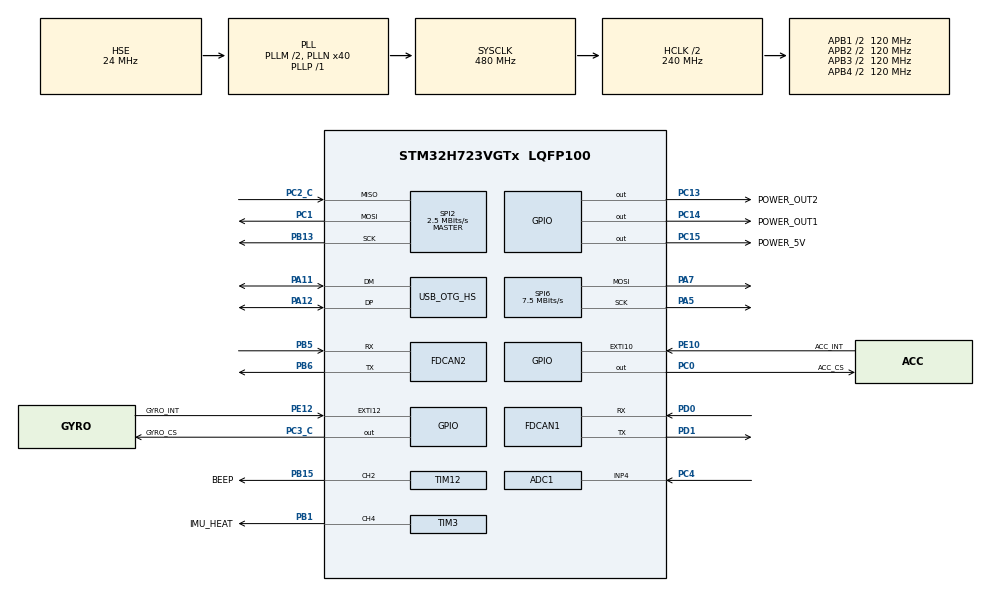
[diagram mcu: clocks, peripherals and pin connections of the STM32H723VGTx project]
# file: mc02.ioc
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ADC1.Channel-0\#ChannelRegularConversion=ADC_CHANNEL_4
ADC1.ClockPrescaler=ADC_CLOCK_ASYNC_DIV4
ADC1.ContinuousConvMode=ENABLE
ADC1.NbrOfConversionFlag=1
ADC1.SamplingTime-0\#ChannelRegularConversion=ADC_SAMPLETIME_8CYCLES_5
ADC1.master=1
CORTEX_M7.default_mode_Activation=0
Dma.Request0=SPI2_RX
Dma.Request1=SPI2_TX
Dma.SPI2_RX.0.Direction=DMA_PERIPH_TO_MEMORY
Dma.SPI2_RX.0.EventEnable=DISABLE
Dma.SPI2_RX.0.FIFOMode=DMA_FIFOMODE_DISABLE
Dma.SPI2_RX.0.Instance=DMA1_Stream1
Dma.SPI2_RX.0.MemDataAlignment=DMA_MDATAALIGN_BYTE
Dma.SPI2_RX.0.MemInc=DMA_MINC_ENABLE
Dma.SPI2_RX.0.Mode=DMA_NORMAL
Dma.SPI2_RX.0.PeriphDataAlignment=DMA_PDATAALIGN_BYTE
Dma.SPI2_RX.0.PeriphInc=DMA_PINC_DISABLE
Dma.SPI2_RX.0.Polarity=HAL_DMAMUX_REQ_GEN_RISING
Dma.SPI2_RX.0.Priority=DMA_PRIORITY_VERY_HIGH
Dma.SPI2_RX.0.RequestNumber=1
Dma.SPI2_RX.0.SignalID=NONE
Dma.SPI2_RX.0.SyncEnable=DISABLE
Dma.SPI2_RX.0.SyncPolarity=HAL_DMAMUX_SYNC_NO_EVENT
Dma.SPI2_RX.0.SyncRequestNumber=1
Dma.SPI2_RX.0.SyncSignalID=NONE
Dma.SPI2_TX.1.Direction=DMA_MEMORY_TO_PERIPH
Dma.SPI2_TX.1.EventEnable=DISABLE
Dma.SPI2_TX.1.FIFOMode=DMA_FIFOMODE_DISABLE
Dma.SPI2_TX.1.Instance=DMA1_Stream2
Dma.SPI2_TX.1.MemDataAlignment=DMA_MDATAALIGN_BYTE
Dma.SPI2_TX.1.MemInc=DMA_MINC_ENABLE
Dma.SPI2_TX.1.Mode=DMA_NORMAL
Dma.SPI2_TX.1.PeriphDataAlignment=DMA_PDATAALIGN_BYTE
Dma.SPI2_TX.1.PeriphInc=DMA_PINC_DISABLE
Dma.SPI2_TX.1.Polarity=HAL_DMAMUX_REQ_GEN_RISING
Dma.SPI2_TX.1.Priority=DMA_PRIORITY_HIGH
Dma.SPI2_TX.1.RequestNumber=1
Dma.SPI2_TX.1.SignalID=NONE
Dma.SPI2_TX.1.SyncEnable=DISABLE
Dma.SPI2_TX.1.SyncPolarity=HAL_DMAMUX_SYNC_NO_EVENT
Dma.SPI2_TX.1.SyncRequestNumber=1
Dma.SPI2_TX.1.SyncSignalID=NONE
FDCAN1.AutoRetransmission=ENABLE
FDCAN1.CalculateBaudRateNominal=1000000
FDCAN1.CalculateTimeBitNominal=1000
FDCAN1.CalculateTimeQuantumNominal=12.5
FDCAN1.DataSyncJumpWidth=2
FDCAN1.DataTimeSeg1=13
FDCAN1.DataTimeSeg2=2
FDCAN1.ExtFiltersNbr=4
FDCAN1.FrameFormat=FDCAN_FRAME_CLASSIC
FDCAN1.NominalPrescaler=1
FDCAN1.NominalSyncJumpWidth=20
FDCAN1.NominalTimeSeg1=59
FDCAN1.NominalTimeSeg2=20
FDCAN1.ProtocolException=ENABLE
FDCAN1.RxBuffersNbr=2
FDCAN1.RxFifo0ElmtsNbr=8
FDCAN1.RxFifo1ElmtsNbr=8
FDCAN1.StdFiltersNbr=4
FDCAN1.TxBuffersNbr=8
FDCAN1.TxEventsNbr=8
FDCAN1.TxFifoQueueElmtsNbr=8
FDCAN2.AutoRetransmission=ENABLE
FDCAN2.CalculateBaudRateNominal=1000000
FDCAN2.CalculateTimeBitNominal=1000
FDCAN2.CalculateTimeQuantumNominal=12.5
FDCAN2.DataSyncJumpWidth=2
FDCAN2.DataTimeSeg1=13
FDCAN2.DataTimeSeg2=2
FDCAN2.ExtFiltersNbr=4
FDCAN2.FrameFormat=FDCAN_FRAME_CLASSIC
FDCAN2.MessageRAMOffset=0x500
FDCAN2.NominalPrescaler=1
FDCAN2.NominalSyncJumpWidth=20
FDCAN2.NominalTimeSeg1=59
FDCAN2.NominalTimeSeg2=20
FDCAN2.ProtocolException=ENABLE
FDCAN2.RxBuffersNbr=2
FDCAN2.RxFifo0ElmtsNbr=8
FDCAN2.RxFifo1ElmtsNbr=8
FDCAN2.StdFiltersNbr=4
FDCAN2.TxBuffersNbr=8
FDCAN2.TxEventsNbr=8
FDCAN2.TxFifoQueueElmtsNbr=8
FREERTOS.BinarySemaphores01=imuBinarySem01,Static,imuBinarySemControlBlock,Depleted;can1BinarySem,Static,can1BinarySemControlBlock,Depleted;can2BinarySem,Static,can2BinarySemControlBlock,Depleted
FREERTOS.MEMORY_ALLOCATION=1
FREERTOS.Mutexes01=motorDataMutex,Static,motorDataMutexControlBlock,Available
FREERTOS.Tasks01=defaultTask,16,128,StartDefaultTask,As weak,NULL,Static,defaultTaskBuffer,defaultTaskControlBlock;imuTempCtrl,8,512,IMU_TempCtrlTask,As weak,NULL,Static,imuTempCtrlBuffer,imuTemoCtrlControlBlock;can1CtrlTask,24,512,CAN1_CtrlTask,As weak,NULL,Static,can1CtrlTaskBuffer,can1CtrlTaskControlBlock;can2CtrlTask,24,128,CAN2_CtrlTask,As weak,NULL,Static,can2CtrlTaskBuffer,can2CtrlTaskControlBlock;voltReadTask,8,128,VoltReadTask,As weak,NULL,Static,voltReadTaskBuffer,voltReadTaskControlBlock
Mcu.Family=STM32H7
Mcu.Name=STM32H723VGTx
Mcu.Package=LQFP100
NVIC.ADC_IRQn=true\:5\:0\:false\:false\:true\:true\:true\:true\:true
NVIC.DMA1_Stream1_IRQn=true\:5\:0\:false\:false\:true\:true\:false\:true\:true
NVIC.DMA1_Stream2_IRQn=true\:5\:0\:false\:false\:true\:true\:false\:true\:true
NVIC.EXTI15_10_IRQn=true\:5\:0\:false\:false\:true\:false\:true\:true\:true
NVIC.FDCAN1_IT0_IRQn=true\:5\:0\:false\:false\:true\:true\:true\:true\:true
NVIC.FDCAN1_IT1_IRQn=true\:5\:0\:false\:false\:true\:true\:true\:true\:true
NVIC.FDCAN2_IT0_IRQn=true\:5\:0\:false\:false\:true\:true\:true\:true\:true
NVIC.FDCAN2_IT1_IRQn=true\:5\:0\:false\:false\:true\:true\:true\:true\:true
NVIC.OTG_HS_IRQn=true\:5\:0\:false\:false\:true\:true\:true\:true\:true
NVIC.PriorityGroup=NVIC_PRIORITYGROUP_4
NVIC.SPI2_IRQn=true\:5\:0\:false\:false\:true\:true\:false\:true\:true
NVIC.TIM1_UP_IRQn=true\:15\:0\:false\:false\:true\:false\:false\:true\:true
NVIC.TIM2_IRQn=true\:5\:0\:false\:false\:true\:true\:true\:true\:true
NVIC.TimeBase=TIM1_UP_IRQn
NVIC.TimeBaseIP=TIM1
PA11.Mode=Device_Only_FS
PA11.Signal=USB_OTG_HS_DM
PA12.Mode=Device_Only_FS
PA12.Signal=USB_OTG_HS_DP
PA13(JTMS/SWDIO).Mode=Serial_Wire
PA13(JTMS/SWDIO).Signal=DEBUG_JTMS-SWDIO
PA14(JTCK/SWCLK).Mode=Serial_Wire
PA14(JTCK/SWCLK).Signal=DEBUG_JTCK-SWCLK
PA5.GPIO_Speed=GPIO_SPEED_FREQ_VERY_HIGH
PA5.Mode=TX_Only_Simplex_Unidirect_Master
PA5.Signal=SPI6_SCK
PA7.GPIO_Speed=GPIO_SPEED_FREQ_VERY_HIGH
PA7.Mode=TX_Only_Simplex_Unidirect_Master
PA7.Signal=SPI6_MOSI
PA9.Signal=USART1_TX
PB1.GPIO_Label=IMU_HEAT
PB1.Signal=S_TIM3_CH4
PB13.GPIO_Speed=GPIO_SPEED_FREQ_VERY_HIGH
PB13.Mode=Full_Duplex_Master
PB13.Signal=SPI2_SCK
PB15.GPIO_Label=BEEP
PB15.Signal=S_TIM12_CH2
PB5.Mode=FDCAN_Activate
PB5.Signal=FDCAN2_RX
PB6.Mode=FDCAN_Activate
PB6.Signal=FDCAN2_TX
PC0.GPIO_Label=ACC_CS
PC0.GPIO_Speed=GPIO_SPEED_FREQ_VERY_HIGH
PC0.PinState=GPIO_PIN_SET
PC0.Signal=GPIO_Output
PC1.GPIO_Speed=GPIO_SPEED_FREQ_VERY_HIGH
PC1.Mode=Full_Duplex_Master
PC1.Signal=SPI2_MOSI
PC13.GPIO_Label=POWER_OUT2
PC13.PinState=GPIO_PIN_SET
PC13.Signal=GPIO_Output
PC14-OSC32_IN.GPIO_Label=POWER_OUT1
PC14-OSC32_IN.PinState=GPIO_PIN_SET
PC14-OSC32_IN.Signal=GPIO_Output
PC15-OSC32_OUT.GPIO_Label=POWER_5V
PC15-OSC32_OUT.PinState=GPIO_PIN_SET
PC15-OSC32_OUT.Signal=GPIO_Output
PC2_C.GPIO_Speed=GPIO_SPEED_FREQ_VERY_HIGH
PC2_C.Mode=Full_Duplex_Master
PC2_C.Signal=SPI2_MISO
PC3_C.GPIO_Label=GYRO_CS
PC3_C.GPIO_Speed=GPIO_SPEED_FREQ_VERY_HIGH
PC3_C.PinState=GPIO_PIN_SET
PC3_C.Signal=GPIO_Output
PC4.Signal=ADCx_INP4
PD0.Mode=FDCAN_Activate
PD0.Signal=FDCAN1_RX
PD1.Mode=FDCAN_Activate
PD1.Signal=FDCAN1_TX
PE10.GPIO_Label=ACC_INT
PE10.Signal=GPXTI10
PE12.GPIO_Label=GYRO_INT
PE12.Signal=GPXTI12
PH0-OSC_IN.Mode=HSE-External-Oscillator
PH0-OSC_IN.Signal=RCC_OSC_IN
PH1-OSC_OUT.Mode=HSE-External-Oscillator
PH1-OSC_OUT.Signal=RCC_OSC_OUT
ProjectManager.HeapSize=0x200
ProjectManager.StackSize=0x400
ProjectManager.TargetToolchain=MDK-ARM V5.32
RCC.ADCFreq_Value=96000000
RCC.APB1Freq_Value=120000000
RCC.APB2Freq_Value=120000000
RCC.APB3Freq_Value=120000000
RCC.APB4Freq_Value=120000000
RCC.CortexFreq_Value=480000000
RCC.D1PPRE=RCC_APB3_DIV2
RCC.D2PPRE1=RCC_APB1_DIV2
RCC.D2PPRE2=RCC_APB2_DIV2
RCC.D3PPRE=RCC_APB4_DIV2
RCC.DIVM1=2
RCC.DIVM2=2
RCC.DIVN1=40
RCC.DIVN2=16
RCC.DIVP1=1
RCC.DIVQ1=6
RCC.HCLKFreq_Value=240000000
RCC.HPRE=RCC_HCLK_DIV2
RCC.HSE_VALUE=24000000
RCC.PLL2FRACN=0
RCC.PLLFRACN=0
RCC.PLLSourceVirtual=RCC_PLLSOURCE_HSE
RCC.SYSCLKFreq_VALUE=480000000
RCC.SYSCLKSource=RCC_SYSCLKSOURCE_PLLCLK
RCC.USBCLockSelection=RCC_USBCLKSOURCE_HSI48
RCC.USBFreq_Value=48000000
SH.ADCx_INP4.0=ADC1_INP4,IN4-Single-Ended
SH.S_TIM12_CH2.0=TIM12_CH2,PWM Generation2 CH2
SH.S_TIM3_CH4.0=TIM3_CH4,PWM Generation4 CH4
SPI2.BaudRatePrescaler=SPI_BAUDRATEPRESCALER_32
SPI2.CLKPhase=SPI_PHASE_2EDGE
SPI2.CLKPolarity=SPI_POLARITY_HIGH
SPI2.CalculateBaudRate=2.5 MBits/s
SPI2.DataSize=SPI_DATASIZE_8BIT
SPI2.Direction=SPI_DIRECTION_2LINES
SPI2.Mode=SPI_MODE_MASTER
SPI2.VirtualType=VM_MASTER
SPI6.BaudRatePrescaler=SPI_BAUDRATEPRESCALER_16
SPI6.CLKPhase=SPI_PHASE_2EDGE
SPI6.CalculateBaudRate=7.5 MBits/s
SPI6.DataSize=SPI_DATASIZE_8BIT
SPI6.Direction=SPI_DIRECTION_2LINES_TXONLY
SPI6.Mode=SPI_MODE_MASTER
SPI6.VirtualType=VM_MASTER
TIM12.Channel-PWM\ Generation2\ CH2=TIM_CHANNEL_2
TIM12.Period=2000-1
TIM12.Prescaler=24-1
TIM12.Pulse-PWM\ Generation2\ CH2=1000
TIM2.AutoReloadPreload=TIM_AUTORELOAD_PRELOAD_ENABLE
TIM2.Period=10000-1
TIM2.Prescaler=24-1
TIM3.AutoReloadPreload=TIM_AUTORELOAD_PRELOAD_ENABLE
TIM3.Channel-PWM\ Generation4\ CH4=TIM_CHANNEL_4
TIM3.Period=10000-1
TIM3.Prescaler=24-1
USB_DEVICE.CLASS_NAME_HS=CDC
USB_DEVICE.VirtualMode=Cdc
USB_DEVICE.VirtualModeHS=Cdc_HS
USB_OTG_HS.VirtualMode-Device_Only_FS=Device_Only_FS
VP_CRC_VS_CRC.Mode=CRC_Activate
VP_FREERTOS_VS_CMSIS_V2.Mode=CMSIS_V2
VP_MEMORYMAP_VS_MEMORYMAP.Mode=CurAppReg
VP_SYS_VS_tim1.Mode=TIM1
VP_TIM2_VS_ClockSourceINT.Mode=Internal
VP_USB_DEVICE_VS_USB_DEVICE_CDC_HS.Mode=CDC_HS
board=custom

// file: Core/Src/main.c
/* USER CODE BEGIN Header */
/**
  ******************************************************************************
  * @file           : main.c
  * @brief          : Main program body
  ******************************************************************************
  * @attention
  *
  * Copyright (c) 2025 STMicroelectronics.
  * All rights reserved.
  *
  * This software is licensed under terms that can be found in the LICENSE file
  * in the root directory of this software component.
  * If no LICENSE file comes with this software, it is provided AS-IS.
  *
  ******************************************************************************
  */
/* USER CODE END Header */
#include "main.h"
#include "cmsis_os.h"
#include "adc.h"
#include "crc.h"
#include "dma.h"
#include "fdcan.h"
#include "memorymap.h"
#include "spi.h"
#include "tim.h"
#include "usb_device.h"
#include "gpio.h"

/* USER CODE BEGIN Includes */
#include "stdint.h"
#include "vofa.h"
#include "bsp_fdcan.h"
/* USER CODE END Includes */

/* USER CODE BEGIN PV */
//uint8_t usb_rx_buffer[64];
//uint8_t usb_tx_buffer[64];
extern uint16_t adc_val[2];
extern uint16_t adc_val_dma[1024];

extern osSemaphoreId_t can1BinarySemHandle;
extern osSemaphoreId_t can2BinarySemHandle;
/* USER CODE END PV */

void SystemClock_Config(void);
void MX_FREERTOS_Init(void);

int main(void)
{

  /* MCU Configuration--------------------------------------------------------*/

  /* Reset of all peripherals, Initializes the Flash interface and the Systick. */
  HAL_Init();

  /* Configure the system clock */
  SystemClock_Config();

  /* Initialize all configured peripherals */
  MX_GPIO_Init();
  MX_DMA_Init();
  MX_ADC1_Init();
  MX_TIM12_Init();
  MX_CRC_Init();
  MX_SPI2_Init();
  MX_TIM3_Init();
  MX_SPI6_Init();
  MX_FDCAN1_Init();
  MX_FDCAN2_Init();
  MX_TIM2_Init();
  /* USER CODE BEGIN 2 */
	// Enable Motor Power
	HAL_GPIO_WritePin(GPIOC, POWER_OUT2_Pin|POWER_OUT1_Pin|POWER_5V_Pin, GPIO_PIN_SET);
	// Setup CAN
	bsp_fdcan_set_baud(&hfdcan1, CAN_CLASS, CAN_BR_1M);
	bsp_fdcan_set_baud(&hfdcan2, CAN_CLASS, CAN_BR_1M);
	bsp_can_init();
	// Setup USB
	MX_USB_DEVICE_Init();
	HAL_Delay(1000);
  /* USER CODE END 2 */

  /* Init scheduler */
  osKernelInitialize();

  /* Call init function for freertos objects (in cmsis_os2.c) */
  MX_FREERTOS_Init();

  /* Start scheduler */
  osKernelStart();

  /* We should never get here as control is now taken by the scheduler */

  /* Infinite loop */
  while (1)
  {

  }
}

void SystemClock_Config(void)
{
  RCC_OscInitTypeDef RCC_OscInitStruct = {0};
  RCC_ClkInitTypeDef RCC_ClkInitStruct = {0};

  /** Supply configuration update enable
  */
  HAL_PWREx_ConfigSupply(PWR_LDO_SUPPLY);

  /** Configure the main internal regulator output voltage
  */
  __HAL_PWR_VOLTAGESCALING_CONFIG(PWR_REGULATOR_VOLTAGE_SCALE0);

  while(!__HAL_PWR_GET_FLAG(PWR_FLAG_VOSRDY)) {}

  /** Initializes the RCC Oscillators according to the specified parameters
  * in the RCC_OscInitTypeDef structure.
  */
  RCC_OscInitStruct.OscillatorType = RCC_OSCILLATORTYPE_HSI48|RCC_OSCILLATORTYPE_HSE;
  RCC_OscInitStruct.HSEState = RCC_HSE_ON;
  RCC_OscInitStruct.HSI48State = RCC_HSI48_ON;
  RCC_OscInitStruct.PLL.PLLState = RCC_PLL_ON;
  RCC_OscInitStruct.PLL.PLLSource = RCC_PLLSOURCE_HSE;
  RCC_OscInitStruct.PLL.PLLM = 2;
  RCC_OscInitStruct.PLL.PLLN = 40;
  RCC_OscInitStruct.PLL.PLLP = 1;
  RCC_OscInitStruct.PLL.PLLQ = 6;
  RCC_OscInitStruct.PLL.PLLR = 2;
  RCC_OscInitStruct.PLL.PLLRGE = RCC_PLL1VCIRANGE_3;
  RCC_OscInitStruct.PLL.PLLVCOSEL = RCC_PLL1VCOWIDE;
  RCC_OscInitStruct.PLL.PLLFRACN = 0;
  if (HAL_RCC_OscConfig(&RCC_OscInitStruct) != HAL_OK)
  {
    Error_Handler();
  }

  /** Initializes the CPU, AHB and APB buses clocks
  */
  RCC_ClkInitStruct.ClockType = RCC_CLOCKTYPE_HCLK|RCC_CLOCKTYPE_SYSCLK
                              |RCC_CLOCKTYPE_PCLK1|RCC_CLOCKTYPE_PCLK2
                              |RCC_CLOCKTYPE_D3PCLK1|RCC_CLOCKTYPE_D1PCLK1;
  RCC_ClkInitStruct.SYSCLKSource = RCC_SYSCLKSOURCE_PLLCLK;
  RCC_ClkInitStruct.SYSCLKDivider = RCC_SYSCLK_DIV1;
  RCC_ClkInitStruct.AHBCLKDivider = RCC_HCLK_DIV2;
  RCC_ClkInitStruct.APB3CLKDivider = RCC_APB3_DIV2;
  RCC_ClkInitStruct.APB1CLKDivider = RCC_APB1_DIV2;
  RCC_ClkInitStruct.APB2CLKDivider = RCC_APB2_DIV2;
  RCC_ClkInitStruct.APB4CLKDivider = RCC_APB4_DIV2;

  if (HAL_RCC_ClockConfig(&RCC_ClkInitStruct, FLASH_LATENCY_3) != HAL_OK)
  {
    Error_Handler();
  }
}

void HAL_TIM_PeriodElapsedCallback(TIM_HandleTypeDef *htim)
{
  if (htim->Instance == TIM1)
  {
    HAL_IncTick();
  }
  /* USER CODE BEGIN Callback 1 */
	if (htim->Instance == TIM2)
	{
		osSemaphoreRelease(can1BinarySemHandle);
		osSemaphoreRelease(can2BinarySemHandle);
	}
  /* USER CODE END Callback 1 */
}

void Error_Handler(void)
{
  __disable_irq();
  while (1)
  {
  }
}

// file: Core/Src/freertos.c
/* USER CODE BEGIN Header */
/**
  ******************************************************************************
  * File Name          : freertos.c
  * Description        : Code for freertos applications
  ******************************************************************************
  * @attention
  *
  * Copyright (c) 2025 STMicroelectronics.
  * All rights reserved.
  *
  * This software is licensed under terms that can be found in the LICENSE file
  * in the root directory of this software component.
  * If no LICENSE file comes with this software, it is provided AS-IS.
  *
  ******************************************************************************
  */
/* USER CODE END Header */

#include "FreeRTOS.h"
#include "task.h"
#include "main.h"
#include "cmsis_os.h"

typedef StaticTask_t osStaticThreadDef_t;
typedef StaticSemaphore_t osStaticMutexDef_t;
typedef StaticSemaphore_t osStaticSemaphoreDef_t;

/* Definitions for defaultTask */
osThreadId_t defaultTaskHandle;
uint32_t defaultTaskBuffer[ 128 ];
osStaticThreadDef_t defaultTaskControlBlock;
const osThreadAttr_t defaultTask_attributes = {
  .name = "defaultTask",
  .cb_mem = &defaultTaskControlBlock,
  .cb_size = sizeof(defaultTaskControlBlock),
  .stack_mem = &defaultTaskBuffer[0],
  .stack_size = sizeof(defaultTaskBuffer),
  .priority = (osPriority_t) osPriorityBelowNormal,
};
/* Definitions for imuTempCtrl */
osThreadId_t imuTempCtrlHandle;
uint32_t imuTempCtrlBuffer[ 512 ];
osStaticThreadDef_t imuTemoCtrlControlBlock;
const osThreadAttr_t imuTempCtrl_attributes = {
  .name = "imuTempCtrl",
  .cb_mem = &imuTemoCtrlControlBlock,
  .cb_size = sizeof(imuTemoCtrlControlBlock),
  .stack_mem = &imuTempCtrlBuffer[0],
  .stack_size = sizeof(imuTempCtrlBuffer),
  .priority = (osPriority_t) osPriorityLow,
};
/* Definitions for can1CtrlTask */
osThreadId_t can1CtrlTaskHandle;
uint32_t can1CtrlTaskBuffer[ 512 ];
osStaticThreadDef_t can1CtrlTaskControlBlock;
const osThreadAttr_t can1CtrlTask_attributes = {
  .name = "can1CtrlTask",
  .cb_mem = &can1CtrlTaskControlBlock,
  .cb_size = sizeof(can1CtrlTaskControlBlock),
  .stack_mem = &can1CtrlTaskBuffer[0],
  .stack_size = sizeof(can1CtrlTaskBuffer),
  .priority = (osPriority_t) osPriorityNormal,
};
/* Definitions for can2CtrlTask */
osThreadId_t can2CtrlTaskHandle;
uint32_t can2CtrlTaskBuffer[ 128 ];
osStaticThreadDef_t can2CtrlTaskControlBlock;
const osThreadAttr_t can2CtrlTask_attributes = {
  .name = "can2CtrlTask",
  .cb_mem = &can2CtrlTaskControlBlock,
  .cb_size = sizeof(can2CtrlTaskControlBlock),
  .stack_mem = &can2CtrlTaskBuffer[0],
  .stack_size = sizeof(can2CtrlTaskBuffer),
  .priority = (osPriority_t) osPriorityNormal,
};
/* Definitions for voltReadTask */
osThreadId_t voltReadTaskHandle;
uint32_t voltReadTaskBuffer[ 128 ];
osStaticThreadDef_t voltReadTaskControlBlock;
const osThreadAttr_t voltReadTask_attributes = {
  .name = "voltReadTask",
  .cb_mem = &voltReadTaskControlBlock,
  .cb_size = sizeof(voltReadTaskControlBlock),
  .stack_mem = &voltReadTaskBuffer[0],
  .stack_size = sizeof(voltReadTaskBuffer),
  .priority = (osPriority_t) osPriorityLow,
};
/* Definitions for motorDataMutex */
osMutexId_t motorDataMutexHandle;
osStaticMutexDef_t motorDataMutexControlBlock;
const osMutexAttr_t motorDataMutex_attributes = {
  .name = "motorDataMutex",
  .cb_mem = &motorDataMutexControlBlock,
  .cb_size = sizeof(motorDataMutexControlBlock),
};
/* Definitions for imuBinarySem01 */
osSemaphoreId_t imuBinarySem01Handle;
osStaticSemaphoreDef_t imuBinarySemControlBlock;
const osSemaphoreAttr_t imuBinarySem01_attributes = {
  .name = "imuBinarySem01",
  .cb_mem = &imuBinarySemControlBlock,
  .cb_size = sizeof(imuBinarySemControlBlock),
};
/* Definitions for can1BinarySem */
osSemaphoreId_t can1BinarySemHandle;
osStaticSemaphoreDef_t can1BinarySemControlBlock;
const osSemaphoreAttr_t can1BinarySem_attributes = {
  .name = "can1BinarySem",
  .cb_mem = &can1BinarySemControlBlock,
  .cb_size = sizeof(can1BinarySemControlBlock),
};
/* Definitions for can2BinarySem */
osSemaphoreId_t can2BinarySemHandle;
osStaticSemaphoreDef_t can2BinarySemControlBlock;
const osSemaphoreAttr_t can2BinarySem_attributes = {
  .name = "can2BinarySem",
  .cb_mem = &can2BinarySemControlBlock,
  .cb_size = sizeof(can2BinarySemControlBlock),
};

void StartDefaultTask(void *argument);
void IMU_TempCtrlTask(void *argument);
void CAN1_CtrlTask(void *argument);
void CAN2_CtrlTask(void *argument);
void VoltReadTask(void *argument);

extern void MX_USB_DEVICE_Init(void);
void MX_FREERTOS_Init(void); /* (MISRA C 2004 rule 8.1) */

void MX_FREERTOS_Init(void) {
  /* Create the mutex(es) */
  /* creation of motorDataMutex */
  motorDataMutexHandle = osMutexNew(&motorDataMutex_attributes);

  /* Create the semaphores(s) */
  /* creation of imuBinarySem01 */
  imuBinarySem01Handle = osSemaphoreNew(1, 0, &imuBinarySem01_attributes);

  /* creation of can1BinarySem */
  can1BinarySemHandle = osSemaphoreNew(1, 0, &can1BinarySem_attributes);

  /* creation of can2BinarySem */
  can2BinarySemHandle = osSemaphoreNew(1, 0, &can2BinarySem_attributes);

  /* Create the thread(s) */
  /* creation of defaultTask */
  defaultTaskHandle = osThreadNew(StartDefaultTask, NULL, &defaultTask_attributes);

  /* creation of imuTempCtrl */
  imuTempCtrlHandle = osThreadNew(IMU_TempCtrlTask, NULL, &imuTempCtrl_attributes);

  /* creation of can1CtrlTask */
  can1CtrlTaskHandle = osThreadNew(CAN1_CtrlTask, NULL, &can1CtrlTask_attributes);

  /* creation of can2CtrlTask */
  can2CtrlTaskHandle = osThreadNew(CAN2_CtrlTask, NULL, &can2CtrlTask_attributes);

  /* creation of voltReadTask */
  voltReadTaskHandle = osThreadNew(VoltReadTask, NULL, &voltReadTask_attributes);

}

__weak void StartDefaultTask(void *argument)
{
  /* init code for USB_DEVICE */
  MX_USB_DEVICE_Init();
  for(;;)
  {
    osDelay(1);
  }
}

__weak void IMU_TempCtrlTask(void *argument)
{
  for(;;)
  {
    osDelay(1);
  }
}

__weak void CAN1_CtrlTask(void *argument)
{
  for(;;)
  {
    osDelay(1);
  }
}

__weak void CAN2_CtrlTask(void *argument)
{
  for(;;)
  {
    osDelay(1);
  }
}

__weak void VoltReadTask(void *argument)
{
  for(;;)
  {
    osDelay(1);
  }
}
